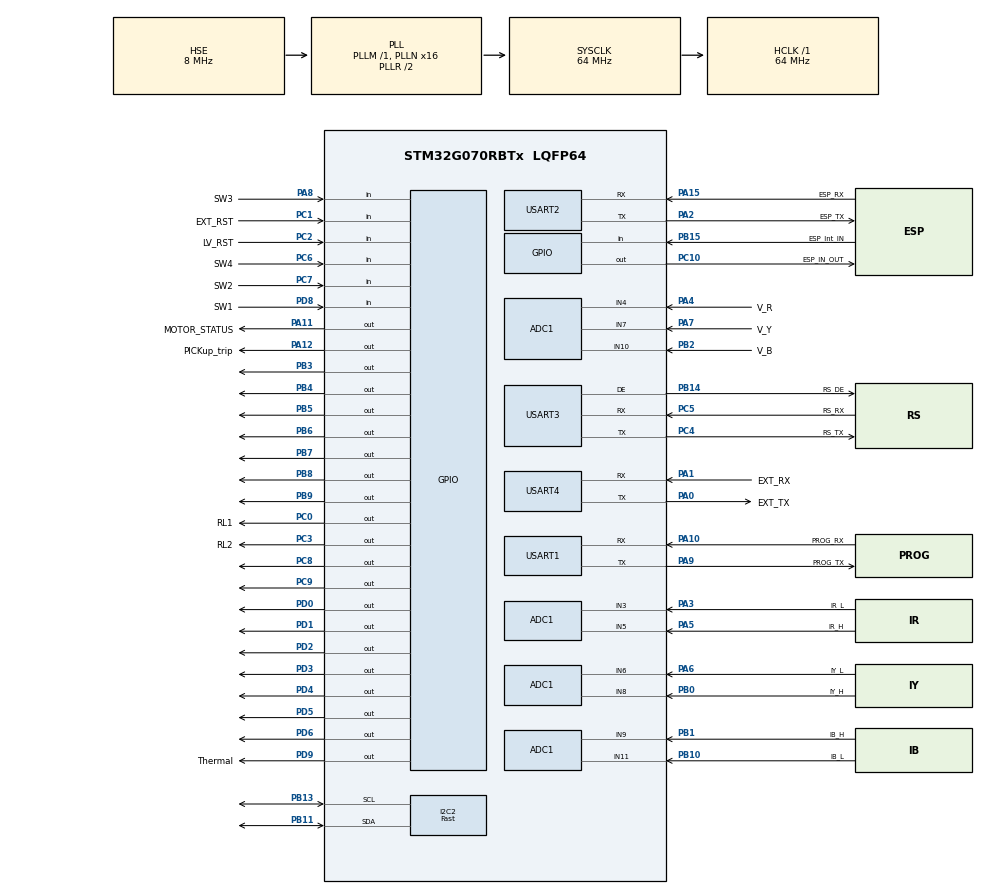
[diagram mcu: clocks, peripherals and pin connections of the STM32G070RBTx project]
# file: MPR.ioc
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ADC1.ClockPrescaler=ADC_CLOCK_SYNC_PCLK_DIV4
ADC1.DMAContinuousRequests=ENABLE
ADC1.EOCSelection=ADC_EOC_SEQ_CONV
ADC1.EnableAnalogWatchDog1=false
ADC1.ExternalTrigConv=ADC_EXTERNALTRIG_T3_TRGO
ADC1.NbrOfConversion=1
ADC1.NbrOfConversionFlag=0
ADC1.OversamplingMode=DISABLE
ADC1.SamplingTimeCommon1=ADC_SAMPLETIME_12CYCLES_5
ADC1.Sequencer=NOT_FULLY_CONFIGURABLE
ADC1.master=1
Dma.ADC1.0.Direction=DMA_PERIPH_TO_MEMORY
Dma.ADC1.0.EventEnable=DISABLE
Dma.ADC1.0.Instance=DMA1_Channel1
Dma.ADC1.0.MemDataAlignment=DMA_MDATAALIGN_WORD
Dma.ADC1.0.MemInc=DMA_MINC_ENABLE
Dma.ADC1.0.Mode=DMA_CIRCULAR
Dma.ADC1.0.PeriphDataAlignment=DMA_PDATAALIGN_WORD
Dma.ADC1.0.PeriphInc=DMA_PINC_DISABLE
Dma.ADC1.0.Polarity=HAL_DMAMUX_REQ_GEN_RISING
Dma.ADC1.0.Priority=DMA_PRIORITY_HIGH
Dma.ADC1.0.RequestNumber=1
Dma.ADC1.0.SignalID=NONE
Dma.ADC1.0.SyncEnable=DISABLE
Dma.ADC1.0.SyncPolarity=HAL_DMAMUX_SYNC_NO_EVENT
Dma.ADC1.0.SyncRequestNumber=1
Dma.ADC1.0.SyncSignalID=NONE
Dma.Request0=ADC1
I2C2.I2C_Speed_Mode=I2C_Fast
I2C2.Timing=0x00602173
Mcu.Family=STM32G0
Mcu.Name=STM32G070RBTx
Mcu.Package=LQFP64
NVIC.DMA1_Channel1_IRQn=true\:0\:0\:false\:false\:true\:false\:true
NVIC.TIM3_IRQn=true\:0\:0\:false\:false\:true\:true\:true
PA0.GPIO_Label=EXT_TX
PA0.Mode=Asynchronous
PA0.Signal=USART4_TX
PA1.GPIO_Label=EXT_RX
PA1.Mode=Asynchronous
PA1.Signal=USART4_RX
PA10.GPIO_Label=PROG_RX
PA10.Mode=Asynchronous
PA10.Signal=USART1_RX
PA11\ [PA9].GPIO_Label=MOTOR_STATUS
PA11\ [PA9].Signal=GPIO_Output
PA12\ [PA10].GPIO_Label=PICKup_trip
PA12\ [PA10].Signal=GPIO_Output
PA13.Mode=Serial_Wire
PA13.Signal=SYS_SWDIO
PA14-BOOT0.Mode=Serial_Wire
PA14-BOOT0.Signal=SYS_SWCLK
PA15.GPIO_Label=ESP_RX
PA15.Mode=Asynchronous
PA15.Signal=USART2_RX
PA2.GPIO_Label=ESP_TX
PA2.Mode=Asynchronous
PA2.Signal=USART2_TX
PA3.GPIO_Label=IR_L
PA3.Mode=IN3
PA3.Signal=ADC1_IN3
PA4.GPIO_Label=V_R
PA4.Mode=IN4
PA4.Signal=ADC1_IN4
PA5.GPIO_Label=IR_H
PA5.Mode=IN5
PA5.Signal=ADC1_IN5
PA6.GPIO_Label=IY_L
PA6.Mode=IN6
PA6.Signal=ADC1_IN6
PA7.GPIO_Label=V_Y
PA7.Mode=IN7
PA7.Signal=ADC1_IN7
PA8.GPIO_Label=SW3
PA8.GPIO_PuPd=GPIO_PULLUP
PA8.Signal=GPIO_Input
PA9.GPIO_Label=PROG_TX
PA9.Mode=Asynchronous
PA9.Signal=USART1_TX
PB0.GPIO_Label=IY_H
PB0.Mode=IN8
PB0.Signal=ADC1_IN8
PB1.GPIO_Label=IB_H
PB1.Mode=IN9
PB1.Signal=ADC1_IN9
PB10.GPIO_Label=IB_L
PB10.Mode=IN11
PB10.Signal=ADC1_IN11
PB11.Mode=I2C
PB11.Signal=I2C2_SDA
PB13.Mode=I2C
PB13.Signal=I2C2_SCL
PB14.GPIO_Label=RS_DE
PB14.Mode=Hardware Flow Control (RS485)
PB14.Signal=USART3_DE
PB15.GPIO_Label=ESP_Int_IN
PB15.Signal=GPIO_Input
PB2.GPIO_Label=V_B
PB2.Mode=IN10
PB2.Signal=ADC1_IN10
PB3.Signal=GPIO_Output
PB4.Signal=GPIO_Output
PB5.Signal=GPIO_Output
PB6.Signal=GPIO_Output
PB7.Signal=GPIO_Output
PB8.Signal=GPIO_Output
PB9.Signal=GPIO_Output
PC0.GPIO_Label=RL1
PC0.Signal=GPIO_Output
PC1.GPIO_Label=EXT_RST
PC1.Signal=GPIO_Input
PC10.GPIO_Label=ESP_IN_OUT
PC10.Signal=GPIO_Output
PC14-OSC32_IN\ (PC14).Mode=LSE-External-Oscillator
PC14-OSC32_IN\ (PC14).Signal=RCC_OSC32_IN
PC15-OSC32_OUT\ (PC15).Mode=LSE-External-Oscillator
PC15-OSC32_OUT\ (PC15).Signal=RCC_OSC32_OUT
PC2.GPIO_Label=LV_RST
PC2.Signal=GPIO_Input
PC3.GPIO_Label=RL2
PC3.Signal=GPIO_Output
PC4.GPIO_Label=RS_TX
PC4.Mode=Asynchronous
PC4.Signal=USART3_TX
PC5.GPIO_Label=RS_RX
PC5.Mode=Asynchronous
PC5.Signal=USART3_RX
PC6.GPIO_Label=SW4
PC6.GPIO_PuPd=GPIO_PULLUP
PC6.Signal=GPIO_Input
PC7.GPIO_Label=SW2
PC7.GPIO_PuPd=GPIO_PULLUP
PC7.Signal=GPIO_Input
PC8.Signal=GPIO_Output
PC9.Signal=GPIO_Output
PD0.Signal=GPIO_Output
PD1.Signal=GPIO_Output
PD2.Signal=GPIO_Output
PD3.Signal=GPIO_Output
PD4.Signal=GPIO_Output
PD5.Signal=GPIO_Output
PD6.Signal=GPIO_Output
PD8.GPIO_Label=SW1
PD8.GPIO_PuPd=GPIO_PULLUP
PD8.Signal=GPIO_Input
PD9.GPIO_Label=Thermal
PD9.Signal=GPIO_Output
PF0-OSC_IN\ (PF0).Mode=HSE-External-Oscillator
PF0-OSC_IN\ (PF0).Signal=RCC_OSC_IN
PF1-OSC_OUT\ (PF1).Mode=HSE-External-Oscillator
PF1-OSC_OUT\ (PF1).Signal=RCC_OSC_OUT
ProjectManager.HeapSize=0x200
ProjectManager.StackSize=0x400
ProjectManager.TargetToolchain=MDK-ARM V5
RCC.ADCFreq_Value=64000000
RCC.AHBFreq_Value=64000000
RCC.CortexFreq_Value=64000000
RCC.EXTERNAL_CLOCK_VALUE=48000
RCC.HCLKFreq_Value=64000000
RCC.HSE_VALUE=8000000
RCC.HSI_VALUE=16000000
RCC.PLLN=16
RCC.PLLSourceVirtual=RCC_PLLSOURCE_HSE
RCC.SYSCLKFreq_VALUE=64000000
RCC.SYSCLKSource=RCC_SYSCLKSOURCE_PLLCLK
RCC.VCOOutputFreq_Value=128000000
TIM3.Period=250-1
TIM3.Prescaler=64-1
TIM3.TIM_MasterOutputTrigger=TIM_TRGO_UPDATE
USART1.VirtualMode-Asynchronous=VM_ASYNC
USART2.VirtualMode-Asynchronous=VM_ASYNC
USART3.VirtualMode-Asynchronous=VM_ASYNC
USART3.VirtualMode-Hardware\ Flow\ Control\ (RS485)=VM_ASYNC
USART4.VirtualMode-Asynchronous=VM_ASYNC
VP_RTC_VS_RTC_Activate.Mode=RTC_Enabled
VP_TIM3_VS_ClockSourceINT.Mode=Internal
board=custom

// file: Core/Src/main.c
/* USER CODE BEGIN Header */
/**
  ******************************************************************************
  * @file           : main.c
  * @brief          : Main program body
  ******************************************************************************
  * @attention
  *
  * <h2><center>&copy; Copyright (c) 2022 STMicroelectronics.
  * All rights reserved.</center></h2>
  *
  * This software component is licensed by ST under BSD 3-Clause license,
  * the "License"; You may not use this file except in compliance with the
  * License. You may obtain a copy of the License at:
  *                        opensource.org/licenses/BSD-3-Clause
  *
  ******************************************************************************
  */
/* USER CODE END Header */

#include "main.h"

/* USER CODE BEGIN Includes */
#include<stdlib.h>
#include "rms.h"
#include "pt24xx.h"
#include "motor_protection.h"
#include "setup.h"
#include "button.h"

/* USER CODE END Includes */

/* USER CODE BEGIN PM */
#define NO_OF_ADC_CHANNEL  	(9U)
#define  EEPROM_DEVICE_ADDRESS   (0xAE) /* EEPROM Device Address */

uint32_t ADC_DATA[NO_OF_ADC_CHANNEL];
bool acc_data_ready=false;

/* USER CODE END PM */

ADC_HandleTypeDef hadc1;
DMA_HandleTypeDef hdma_adc1;

I2C_HandleTypeDef hi2c2;

RTC_HandleTypeDef hrtc;

TIM_HandleTypeDef htim3;

UART_HandleTypeDef huart1;
UART_HandleTypeDef huart2;
UART_HandleTypeDef huart3;
UART_HandleTypeDef huart4;

/* USER CODE BEGIN PV */
/*
	Function call preodically after completion of ACD conversion in DMA mode
*/
void HAL_ADC_ConvCpltCallback(ADC_HandleTypeDef* hadc)
{
	static uint16_t adc_counter=0;
   if(hadc==&hadc1)
	 {
		 Adc_Sample_Calculations((uint32_t *)&ADC_DATA[0]);
		 adc_counter++;

		 if(adc_counter==TOTAL_NO_SAMPLE)
		 {
			 //store adc accumulated data after every 100 ms.
			 Store_Adc_Data();
			 adc_counter=0;
			 acc_data_ready=true;

		 }

		// scan button press event
			button_scanEvent();
	}

}

/* USER CODE END PV */

void SystemClock_Config(void);
static void MX_GPIO_Init(void);
static void MX_DMA_Init(void);
static void MX_ADC1_Init(void);
static void MX_I2C2_Init(void);
static void MX_RTC_Init(void);
static void MX_USART1_UART_Init(void);
static void MX_USART2_UART_Init(void);
static void MX_USART3_UART_Init(void);
static void MX_USART4_UART_Init(void);
static void MX_TIM3_Init(void);

/* USER CODE BEGIN 0 */

static void adc_init(void)
{
		/* Initiate ADC conversion using periodic timer trigger and
			transfer of converted data to RAM using DMA.
			DMA interrupt generation at the end of transfer complete
	*/

	// Start periodic timer for sampling VA inputs
		HAL_TIM_Base_Start(&htim3);

	// Start DMA which will collect data from ADC and put data in given location
	HAL_ADC_Start_DMA(&hadc1, (uint32_t *)&ADC_DATA[0], NO_OF_ADC_CHANNEL);

	acc_data_ready = false;
}

static void hardware_init()
{
		// Initialised EEPROM
	/***initialised volatile memory***/
	PT24xx_init(&hi2c2,EEPROM_DEVICE_ADDRESS);
	Read_Eeprom_Data();

}

void button_test()
{
	static uint8_t temp[4];
	if(ui_isButtonNormalPressed(BUTTON_ID_B0))
	{
		temp[0]++;
	}
	else if(ui_isButtonLongPressed(BUTTON_ID_B0))
	{
		temp[0]--;
	}
	if(ui_isButtonNormalPressed(BUTTON_ID_B1))
	{
		temp[1]++;
	}
	else if(ui_isButtonLongPressed(BUTTON_ID_B1))
	{
		temp[1]--;
	}
	if(ui_isButtonNormalPressed(BUTTON_ID_B2))
	{
		temp[2]++;
	}
	else if(ui_isButtonLongPressed(BUTTON_ID_B2))
	{
		temp[2]--;
	}
	if(ui_isButtonNormalPressed(BUTTON_ID_B3))
	{
		temp[3]++;
	}
	else if(ui_isButtonLongPressed(BUTTON_ID_B3))
	{
		temp[3]--;
	}
}
extern capture_t							  motor_var;

/* USER CODE END 0 */

int main(void)
{

  /* MCU Configuration--------------------------------------------------------*/

  /* Reset of all peripherals, Initializes the Flash interface and the Systick. */
  HAL_Init();

  /* Configure the system clock */
  SystemClock_Config();

  /* Initialize all configured peripherals */
  MX_GPIO_Init();
  MX_DMA_Init();
  MX_ADC1_Init();
  MX_I2C2_Init();
  MX_RTC_Init();
  MX_USART1_UART_Init();
  MX_USART2_UART_Init();
  MX_USART3_UART_Init();
  MX_USART4_UART_Init();
  MX_TIM3_Init();
  /* USER CODE BEGIN 2 */
		adc_init();
		hardware_init();
		/* for reset eeprom */
	//PT24xx_write(0x00,(uint32_t*)0,512);
		initialised_default_setup();
		motor_default_status();

  /* USER CODE END 2 */

  /* Infinite loop */
  /* USER CODE BEGIN WHILE */
  while (1)
  {

		if(acc_data_ready==true)
		{
				Rms_Calculations();
				motorFunctions();
				acc_data_ready=false;
		}

		 //button_test();
    /* USER CODE END WHILE */

  }
}

void SystemClock_Config(void)
{
  RCC_OscInitTypeDef RCC_OscInitStruct = {0};
  RCC_ClkInitTypeDef RCC_ClkInitStruct = {0};
  RCC_PeriphCLKInitTypeDef PeriphClkInit = {0};

  /** Configure the main internal regulator output voltage
  */
  HAL_PWREx_ControlVoltageScaling(PWR_REGULATOR_VOLTAGE_SCALE1);
  /** Configure LSE Drive Capability
  */
  __HAL_RCC_LSEDRIVE_CONFIG(RCC_LSEDRIVE_LOW);
  /** Initializes the CPU, AHB and APB busses clocks
  */
  RCC_OscInitStruct.OscillatorType = RCC_OSCILLATORTYPE_LSI|RCC_OSCILLATORTYPE_HSE
                              |RCC_OSCILLATORTYPE_LSE;
  RCC_OscInitStruct.HSEState = RCC_HSE_ON;
  RCC_OscInitStruct.LSEState = RCC_LSE_ON;
  RCC_OscInitStruct.LSIState = RCC_LSI_ON;
  RCC_OscInitStruct.PLL.PLLState = RCC_PLL_ON;
  RCC_OscInitStruct.PLL.PLLSource = RCC_PLLSOURCE_HSE;
  RCC_OscInitStruct.PLL.PLLM = RCC_PLLM_DIV1;
  RCC_OscInitStruct.PLL.PLLN = 16;
  RCC_OscInitStruct.PLL.PLLP = RCC_PLLP_DIV2;
  RCC_OscInitStruct.PLL.PLLR = RCC_PLLR_DIV2;
  if (HAL_RCC_OscConfig(&RCC_OscInitStruct) != HAL_OK)
  {
    Error_Handler();
  }
  /** Initializes the CPU, AHB and APB busses clocks
  */
  RCC_ClkInitStruct.ClockType = RCC_CLOCKTYPE_HCLK|RCC_CLOCKTYPE_SYSCLK
                              |RCC_CLOCKTYPE_PCLK1;
  RCC_ClkInitStruct.SYSCLKSource = RCC_SYSCLKSOURCE_PLLCLK;
  RCC_ClkInitStruct.AHBCLKDivider = RCC_SYSCLK_DIV1;
  RCC_ClkInitStruct.APB1CLKDivider = RCC_HCLK_DIV1;

  if (HAL_RCC_ClockConfig(&RCC_ClkInitStruct, FLASH_LATENCY_2) != HAL_OK)
  {
    Error_Handler();
  }
  /** Initializes the peripherals clocks
  */
  PeriphClkInit.PeriphClockSelection = RCC_PERIPHCLK_RTC|RCC_PERIPHCLK_USART1
                              |RCC_PERIPHCLK_USART2|RCC_PERIPHCLK_ADC;
  PeriphClkInit.Usart1ClockSelection = RCC_USART1CLKSOURCE_PCLK1;
  PeriphClkInit.Usart2ClockSelection = RCC_USART2CLKSOURCE_PCLK1;
  PeriphClkInit.AdcClockSelection = RCC_ADCCLKSOURCE_SYSCLK;
  PeriphClkInit.RTCClockSelection = RCC_RTCCLKSOURCE_LSI;

  if (HAL_RCCEx_PeriphCLKConfig(&PeriphClkInit) != HAL_OK)
  {
    Error_Handler();
  }
}

static void MX_ADC1_Init(void)
{

  ADC_ChannelConfTypeDef sConfig = {0};

  /** Configure the global features of the ADC (Clock, Resolution, Data Alignment and number of conversion)
  */
  hadc1.Instance = ADC1;
  hadc1.Init.ClockPrescaler = ADC_CLOCK_SYNC_PCLK_DIV4;
  hadc1.Init.Resolution = ADC_RESOLUTION_12B;
  hadc1.Init.DataAlign = ADC_DATAALIGN_RIGHT;
  hadc1.Init.ScanConvMode = ADC_SCAN_SEQ_FIXED;
  hadc1.Init.EOCSelection = ADC_EOC_SEQ_CONV;
  hadc1.Init.LowPowerAutoWait = DISABLE;
  hadc1.Init.LowPowerAutoPowerOff = DISABLE;
  hadc1.Init.ContinuousConvMode = DISABLE;
  hadc1.Init.NbrOfConversion = 1;
  hadc1.Init.DiscontinuousConvMode = DISABLE;
  hadc1.Init.ExternalTrigConv = ADC_EXTERNALTRIG_T3_TRGO;
  hadc1.Init.ExternalTrigConvEdge = ADC_EXTERNALTRIGCONVEDGE_RISING;
  hadc1.Init.DMAContinuousRequests = ENABLE;
  hadc1.Init.Overrun = ADC_OVR_DATA_PRESERVED;
  hadc1.Init.SamplingTimeCommon1 = ADC_SAMPLETIME_12CYCLES_5;
  hadc1.Init.OversamplingMode = DISABLE;
  hadc1.Init.TriggerFrequencyMode = ADC_TRIGGER_FREQ_HIGH;
  if (HAL_ADC_Init(&hadc1) != HAL_OK)
  {
    Error_Handler();
  }
  /** Configure Regular Channel
  */
  sConfig.Channel = ADC_CHANNEL_3;
  sConfig.Rank = ADC_RANK_CHANNEL_NUMBER;
  if (HAL_ADC_ConfigChannel(&hadc1, &sConfig) != HAL_OK)
  {
    Error_Handler();
  }
  /** Configure Regular Channel
  */
  sConfig.Channel = ADC_CHANNEL_4;
  sConfig.Rank = ADC_RANK_CHANNEL_NUMBER;
  if (HAL_ADC_ConfigChannel(&hadc1, &sConfig) != HAL_OK)
  {
    Error_Handler();
  }
  /** Configure Regular Channel
  */
  sConfig.Channel = ADC_CHANNEL_5;
  sConfig.Rank = ADC_RANK_CHANNEL_NUMBER;
  if (HAL_ADC_ConfigChannel(&hadc1, &sConfig) != HAL_OK)
  {
    Error_Handler();
  }
  /** Configure Regular Channel
  */
  sConfig.Channel = ADC_CHANNEL_6;
  sConfig.Rank = ADC_RANK_CHANNEL_NUMBER;
  if (HAL_ADC_ConfigChannel(&hadc1, &sConfig) != HAL_OK)
  {
    Error_Handler();
  }
  /** Configure Regular Channel
  */
  sConfig.Channel = ADC_CHANNEL_7;
  sConfig.Rank = ADC_RANK_CHANNEL_NUMBER;
  if (HAL_ADC_ConfigChannel(&hadc1, &sConfig) != HAL_OK)
  {
    Error_Handler();
  }
  /** Configure Regular Channel
  */
  sConfig.Channel = ADC_CHANNEL_8;
  sConfig.Rank = ADC_RANK_CHANNEL_NUMBER;
  if (HAL_ADC_ConfigChannel(&hadc1, &sConfig) != HAL_OK)
  {
    Error_Handler();
  }
  /** Configure Regular Channel
  */
  sConfig.Channel = ADC_CHANNEL_9;
  sConfig.Rank = ADC_RANK_CHANNEL_NUMBER;
  if (HAL_ADC_ConfigChannel(&hadc1, &sConfig) != HAL_OK)
  {
    Error_Handler();
  }
  /** Configure Regular Channel
  */
  sConfig.Channel = ADC_CHANNEL_10;
  sConfig.Rank = ADC_RANK_CHANNEL_NUMBER;
  if (HAL_ADC_ConfigChannel(&hadc1, &sConfig) != HAL_OK)
  {
    Error_Handler();
  }
  /** Configure Regular Channel
  */
  sConfig.Channel = ADC_CHANNEL_11;
  sConfig.Rank = ADC_RANK_CHANNEL_NUMBER;
  if (HAL_ADC_ConfigChannel(&hadc1, &sConfig) != HAL_OK)
  {
    Error_Handler();
  }

}

static void MX_I2C2_Init(void)
{

  hi2c2.Instance = I2C2;
  hi2c2.Init.Timing = 0x00602173;
  hi2c2.Init.OwnAddress1 = 0;
  hi2c2.Init.AddressingMode = I2C_ADDRESSINGMODE_7BIT;
  hi2c2.Init.DualAddressMode = I2C_DUALADDRESS_DISABLE;
  hi2c2.Init.OwnAddress2 = 0;
  hi2c2.Init.OwnAddress2Masks = I2C_OA2_NOMASK;
  hi2c2.Init.GeneralCallMode = I2C_GENERALCALL_DISABLE;
  hi2c2.Init.NoStretchMode = I2C_NOSTRETCH_DISABLE;
  if (HAL_I2C_Init(&hi2c2) != HAL_OK)
  {
    Error_Handler();
  }
  /** Configure Analogue filter
  */
  if (HAL_I2CEx_ConfigAnalogFilter(&hi2c2, I2C_ANALOGFILTER_ENABLE) != HAL_OK)
  {
    Error_Handler();
  }
  /** Configure Digital filter
  */
  if (HAL_I2CEx_ConfigDigitalFilter(&hi2c2, 0) != HAL_OK)
  {
    Error_Handler();
  }

}

static void MX_RTC_Init(void)
{

  /** Initialize RTC Only
  */
  hrtc.Instance = RTC;
  hrtc.Init.HourFormat = RTC_HOURFORMAT_24;
  hrtc.Init.AsynchPrediv = 127;
  hrtc.Init.SynchPrediv = 255;
  hrtc.Init.OutPut = RTC_OUTPUT_DISABLE;
  hrtc.Init.OutPutRemap = RTC_OUTPUT_REMAP_NONE;
  hrtc.Init.OutPutPolarity = RTC_OUTPUT_POLARITY_HIGH;
  hrtc.Init.OutPutType = RTC_OUTPUT_TYPE_OPENDRAIN;
  hrtc.Init.OutPutPullUp = RTC_OUTPUT_PULLUP_NONE;
  if (HAL_RTC_Init(&hrtc) != HAL_OK)
  {
    Error_Handler();
  }

}

static void MX_TIM3_Init(void)
{

  TIM_ClockConfigTypeDef sClockSourceConfig = {0};
  TIM_MasterConfigTypeDef sMasterConfig = {0};

  htim3.Instance = TIM3;
  htim3.Init.Prescaler = 64-1;
  htim3.Init.CounterMode = TIM_COUNTERMODE_UP;
  htim3.Init.Period = 250-1;
  htim3.Init.ClockDivision = TIM_CLOCKDIVISION_DIV1;
  htim3.Init.AutoReloadPreload = TIM_AUTORELOAD_PRELOAD_DISABLE;
  if (HAL_TIM_Base_Init(&htim3) != HAL_OK)
  {
    Error_Handler();
  }
  sClockSourceConfig.ClockSource = TIM_CLOCKSOURCE_INTERNAL;
  if (HAL_TIM_ConfigClockSource(&htim3, &sClockSourceConfig) != HAL_OK)
  {
    Error_Handler();
  }
  sMasterConfig.MasterOutputTrigger = TIM_TRGO_UPDATE;
  sMasterConfig.MasterSlaveMode = TIM_MASTERSLAVEMODE_DISABLE;
  if (HAL_TIMEx_MasterConfigSynchronization(&htim3, &sMasterConfig) != HAL_OK)
  {
    Error_Handler();
  }

}

static void MX_USART1_UART_Init(void)
{

  huart1.Instance = USART1;
  huart1.Init.BaudRate = 115200;
  huart1.Init.WordLength = UART_WORDLENGTH_7B;
  huart1.Init.StopBits = UART_STOPBITS_1;
  huart1.Init.Parity = UART_PARITY_NONE;
  huart1.Init.Mode = UART_MODE_TX_RX;
  huart1.Init.HwFlowCtl = UART_HWCONTROL_NONE;
  huart1.Init.OverSampling = UART_OVERSAMPLING_16;
  huart1.Init.OneBitSampling = UART_ONE_BIT_SAMPLE_DISABLE;
  huart1.Init.ClockPrescaler = UART_PRESCALER_DIV1;
  huart1.AdvancedInit.AdvFeatureInit = UART_ADVFEATURE_NO_INIT;
  if (HAL_UART_Init(&huart1) != HAL_OK)
  {
    Error_Handler();
  }
  if (HAL_UARTEx_SetTxFifoThreshold(&huart1, UART_TXFIFO_THRESHOLD_1_8) != HAL_OK)
  {
    Error_Handler();
  }
  if (HAL_UARTEx_SetRxFifoThreshold(&huart1, UART_RXFIFO_THRESHOLD_1_8) != HAL_OK)
  {
    Error_Handler();
  }
  if (HAL_UARTEx_DisableFifoMode(&huart1) != HAL_OK)
  {
    Error_Handler();
  }

}

static void MX_USART2_UART_Init(void)
{

  huart2.Instance = USART2;
  huart2.Init.BaudRate = 115200;
  huart2.Init.WordLength = UART_WORDLENGTH_7B;
  huart2.Init.StopBits = UART_STOPBITS_1;
  huart2.Init.Parity = UART_PARITY_NONE;
  huart2.Init.Mode = UART_MODE_TX_RX;
  huart2.Init.HwFlowCtl = UART_HWCONTROL_NONE;
  huart2.Init.OverSampling = UART_OVERSAMPLING_16;
  huart2.Init.OneBitSampling = UART_ONE_BIT_SAMPLE_DISABLE;
  huart2.Init.ClockPrescaler = UART_PRESCALER_DIV1;
  huart2.AdvancedInit.AdvFeatureInit = UART_ADVFEATURE_NO_INIT;
  if (HAL_UART_Init(&huart2) != HAL_OK)
  {
    Error_Handler();
  }
  if (HAL_UARTEx_SetTxFifoThreshold(&huart2, UART_TXFIFO_THRESHOLD_1_8) != HAL_OK)
  {
    Error_Handler();
  }
  if (HAL_UARTEx_SetRxFifoThreshold(&huart2, UART_RXFIFO_THRESHOLD_1_8) != HAL_OK)
  {
    Error_Handler();
  }
  if (HAL_UARTEx_DisableFifoMode(&huart2) != HAL_OK)
  {
    Error_Handler();
  }

}

static void MX_USART3_UART_Init(void)
{

  huart3.Instance = USART3;
  huart3.Init.BaudRate = 115200;
  huart3.Init.WordLength = UART_WORDLENGTH_7B;
  huart3.Init.StopBits = UART_STOPBITS_1;
  huart3.Init.Parity = UART_PARITY_NONE;
  huart3.Init.Mode = UART_MODE_TX_RX;
  huart3.Init.HwFlowCtl = UART_HWCONTROL_NONE;
  huart3.Init.OverSampling = UART_OVERSAMPLING_16;
  huart3.Init.OneBitSampling = UART_ONE_BIT_SAMPLE_DISABLE;
  huart3.Init.ClockPrescaler = UART_PRESCALER_DIV1;
  huart3.AdvancedInit.AdvFeatureInit = UART_ADVFEATURE_NO_INIT;
  if (HAL_RS485Ex_Init(&huart3, UART_DE_POLARITY_HIGH, 0, 0) != HAL_OK)
  {
    Error_Handler();
  }

}

static void MX_USART4_UART_Init(void)
{

  huart4.Instance = USART4;
  huart4.Init.BaudRate = 115200;
  huart4.Init.WordLength = UART_WORDLENGTH_7B;
  huart4.Init.StopBits = UART_STOPBITS_1;
  huart4.Init.Parity = UART_PARITY_NONE;
  huart4.Init.Mode = UART_MODE_TX_RX;
  huart4.Init.HwFlowCtl = UART_HWCONTROL_NONE;
  huart4.Init.OverSampling = UART_OVERSAMPLING_16;
  huart4.Init.OneBitSampling = UART_ONE_BIT_SAMPLE_DISABLE;
  huart4.Init.ClockPrescaler = UART_PRESCALER_DIV1;
  huart4.AdvancedInit.AdvFeatureInit = UART_ADVFEATURE_NO_INIT;
  if (HAL_UART_Init(&huart4) != HAL_OK)
  {
    Error_Handler();
  }

}

static void MX_DMA_Init(void)
{
  /* DMA controller clock enable */
  __HAL_RCC_DMA1_CLK_ENABLE();

  /* DMA interrupt init */
  /* DMA1_Channel1_IRQn interrupt configuration */
  HAL_NVIC_SetPriority(DMA1_Channel1_IRQn, 0, 0);
  HAL_NVIC_EnableIRQ(DMA1_Channel1_IRQn);

}

static void MX_GPIO_Init(void)
{
  GPIO_InitTypeDef GPIO_InitStruct = {0};

  /* GPIO Ports Clock Enable */
  __HAL_RCC_GPIOC_CLK_ENABLE();
  __HAL_RCC_GPIOF_CLK_ENABLE();
  __HAL_RCC_GPIOA_CLK_ENABLE();
  __HAL_RCC_GPIOB_CLK_ENABLE();
  __HAL_RCC_GPIOD_CLK_ENABLE();

  /*Configure GPIO pin Output Level */
  HAL_GPIO_WritePin(GPIOC, RL1_Pin|RL2_Pin|GPIO_PIN_8|GPIO_PIN_9
                          |ESP_IN_OUT_Pin, GPIO_PIN_RESET);

  /*Configure GPIO pin Output Level */
  HAL_GPIO_WritePin(GPIOD, Thermal_Pin|GPIO_PIN_0|GPIO_PIN_1|GPIO_PIN_2
                          |GPIO_PIN_3|GPIO_PIN_4|GPIO_PIN_5|GPIO_PIN_6, GPIO_PIN_RESET);

  /*Configure GPIO pin Output Level */
  HAL_GPIO_WritePin(GPIOA, MOTOR_STATUS_Pin|PICKup_trip_Pin, GPIO_PIN_RESET);

  /*Configure GPIO pin Output Level */
  HAL_GPIO_WritePin(GPIOB, GPIO_PIN_3|GPIO_PIN_4|GPIO_PIN_5|GPIO_PIN_6
                          |GPIO_PIN_7|GPIO_PIN_8|GPIO_PIN_9, GPIO_PIN_RESET);

  /*Configure GPIO pins : PC11 PC12 PC13 */
  GPIO_InitStruct.Pin = GPIO_PIN_11|GPIO_PIN_12|GPIO_PIN_13;
  GPIO_InitStruct.Mode = GPIO_MODE_ANALOG;
  GPIO_InitStruct.Pull = GPIO_NOPULL;
  HAL_GPIO_Init(GPIOC, &GPIO_InitStruct);

  /*Configure GPIO pin : PF2 */
  GPIO_InitStruct.Pin = GPIO_PIN_2;
  GPIO_InitStruct.Mode = GPIO_MODE_ANALOG;
  GPIO_InitStruct.Pull = GPIO_NOPULL;
  HAL_GPIO_Init(GPIOF, &GPIO_InitStruct);

  /*Configure GPIO pins : RL1_Pin RL2_Pin PC8 PC9
                           ESP_IN_OUT_Pin */
  GPIO_InitStruct.Pin = RL1_Pin|RL2_Pin|GPIO_PIN_8|GPIO_PIN_9
                          |ESP_IN_OUT_Pin;
  GPIO_InitStruct.Mode = GPIO_MODE_OUTPUT_PP;
  GPIO_InitStruct.Pull = GPIO_NOPULL;
  GPIO_InitStruct.Speed = GPIO_SPEED_FREQ_LOW;
  HAL_GPIO_Init(GPIOC, &GPIO_InitStruct);

  /*Configure GPIO pins : EXT_RST_Pin LV_RST_Pin */
  GPIO_InitStruct.Pin = EXT_RST_Pin|LV_RST_Pin;
  GPIO_InitStruct.Mode = GPIO_MODE_INPUT;
  GPIO_InitStruct.Pull = GPIO_NOPULL;
  HAL_GPIO_Init(GPIOC, &GPIO_InitStruct);

  /*Configure GPIO pin : PB12 */
  GPIO_InitStruct.Pin = GPIO_PIN_12;
  GPIO_InitStruct.Mode = GPIO_MODE_ANALOG;
  GPIO_InitStruct.Pull = GPIO_NOPULL;
  HAL_GPIO_Init(GPIOB, &GPIO_InitStruct);

  /*Configure GPIO pin : ESP_Int_IN_Pin */
  GPIO_InitStruct.Pin = ESP_Int_IN_Pin;
  GPIO_InitStruct.Mode = GPIO_MODE_INPUT;
  GPIO_InitStruct.Pull = GPIO_NOPULL;
  HAL_GPIO_Init(ESP_Int_IN_GPIO_Port, &GPIO_InitStruct);

  /*Configure GPIO pin : SW3_Pin */
  GPIO_InitStruct.Pin = SW3_Pin;
  GPIO_InitStruct.Mode = GPIO_MODE_INPUT;
  GPIO_InitStruct.Pull = GPIO_PULLUP;
  HAL_GPIO_Init(SW3_GPIO_Port, &GPIO_InitStruct);

  /*Configure GPIO pins : SW4_Pin SW2_Pin */
  GPIO_InitStruct.Pin = SW4_Pin|SW2_Pin;
  GPIO_InitStruct.Mode = GPIO_MODE_INPUT;
  GPIO_InitStruct.Pull = GPIO_PULLUP;
  HAL_GPIO_Init(GPIOC, &GPIO_InitStruct);

  /*Configure GPIO pin : SW1_Pin */
  GPIO_InitStruct.Pin = SW1_Pin;
  GPIO_InitStruct.Mode = GPIO_MODE_INPUT;
  GPIO_InitStruct.Pull = GPIO_PULLUP;
  HAL_GPIO_Init(SW1_GPIO_Port, &GPIO_InitStruct);

  /*Configure GPIO pins : Thermal_Pin PD0 PD1 PD2
                           PD3 PD4 PD5 PD6 */
  GPIO_InitStruct.Pin = Thermal_Pin|GPIO_PIN_0|GPIO_PIN_1|GPIO_PIN_2
                          |GPIO_PIN_3|GPIO_PIN_4|GPIO_PIN_5|GPIO_PIN_6;
  GPIO_InitStruct.Mode = GPIO_MODE_OUTPUT_PP;
  GPIO_InitStruct.Pull = GPIO_NOPULL;
  GPIO_InitStruct.Speed = GPIO_SPEED_FREQ_LOW;
  HAL_GPIO_Init(GPIOD, &GPIO_InitStruct);

  /*Configure GPIO pins : MOTOR_STATUS_Pin PICKup_trip_Pin */
  GPIO_InitStruct.Pin = MOTOR_STATUS_Pin|PICKup_trip_Pin;
  GPIO_InitStruct.Mode = GPIO_MODE_OUTPUT_PP;
  GPIO_InitStruct.Pull = GPIO_NOPULL;
  GPIO_InitStruct.Speed = GPIO_SPEED_FREQ_LOW;
  HAL_GPIO_Init(GPIOA, &GPIO_InitStruct);

  /*Configure GPIO pins : PB3 PB4 PB5 PB6
                           PB7 PB8 PB9 */
  GPIO_InitStruct.Pin = GPIO_PIN_3|GPIO_PIN_4|GPIO_PIN_5|GPIO_PIN_6
                          |GPIO_PIN_7|GPIO_PIN_8|GPIO_PIN_9;
  GPIO_InitStruct.Mode = GPIO_MODE_OUTPUT_PP;
  GPIO_InitStruct.Pull = GPIO_NOPULL;
  GPIO_InitStruct.Speed = GPIO_SPEED_FREQ_LOW;
  HAL_GPIO_Init(GPIOB, &GPIO_InitStruct);

}

void Error_Handler(void)
{
}

/************************ (C) COPYRIGHT STMicroelectronics *****END OF FILE****/
